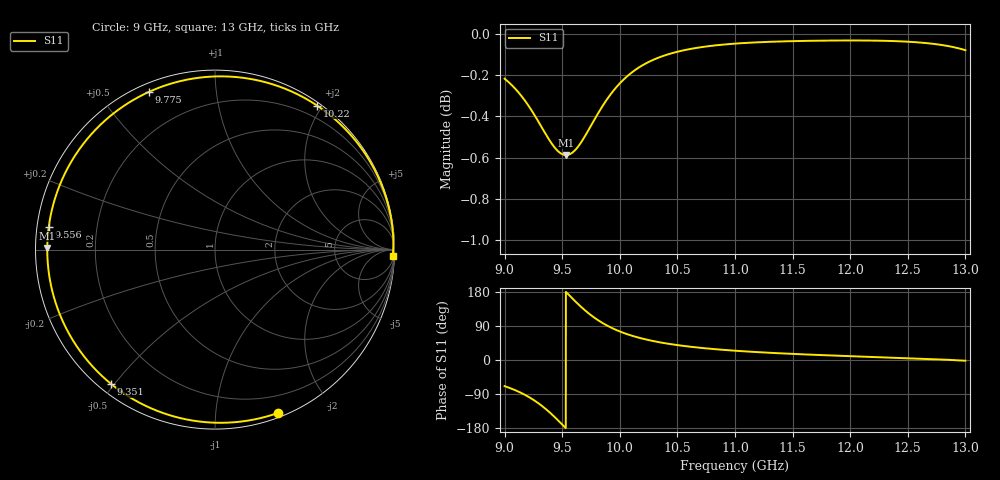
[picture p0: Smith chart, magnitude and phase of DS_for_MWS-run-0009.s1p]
! TOUCHSTONE file generated by CST DESIGN STUDIO
! Date and time: Tue Feb  4 13:16:07 2025
! Project name: C:\Work\MatlabApps\UnitCellOptimizationMatlab\CST\unitcell.cst
! Tree item: Tasks\Sweep1\SPara1\S-Parameters
! Header version: 2024
! Port assignment regex: !\s*Touchstone port\s*([0-9]+)\s*=\s*(CST MWS port|CST DES external port|CST DES block port)\s*(.+)\s* \(\"(.*)\"\)(\s*mode\s*([0-9]+))?.*
! Touchstone port assignment:
! Touchstone port 1 = CST DES external port 1 ("")
# GHz S MA R 50
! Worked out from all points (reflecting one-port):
!   4001 points, 9 GHz to 13 GHz, reference 50 ohm
!   lowest |S11| = -0.6 dB at 9.533 GHz (marker M1), VSWR 29.55, Z = 1.69 + j0.223 ohm
!   phase of S11 starts at -69 deg and turns -293 deg over the sweep
!   S11 on the Smith chart (normalised r, x): 9 GHz: 0.04, -1.45; 9.351 GHz: 0.03, -0.49; 9.556 GHz: 0.03, +0.07; 9.775 GHz: 0.03, +0.67; 10.22 GHz: 0.04, +1.93; 13 GHz: 15, -56
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9  0.9753 -69.0
9.1  0.9694 -80.7
9.208  0.9607 -97.3
9.283  0.9533 -111.9
9.351  0.9462 -127.7
9.421  0.9395 -146.6
9.462  0.9367 -158.6
9.5  0.935 -170.2
9.533  0.9345 179.5
9.556  0.9348 172.3
9.609  0.9369 156.1
9.67  0.9418 138.5
9.722  0.947 125.0
9.775  0.9528 112.6
9.822  0.9577 102.9
9.873  0.9627 93.6
9.936  0.9681 83.8
10  0.9728 75.3
10.104  0.9787 64.2
10.22  0.9835 54.7
10.349  0.9872 46.5
10.5  0.9902 39.3
10.721  0.9928 31.5
11  0.9947 24.5
11.5  0.9961 16.1
12  0.9965 10.1
12.5  0.9958 4.8
13  0.991 -1.9
